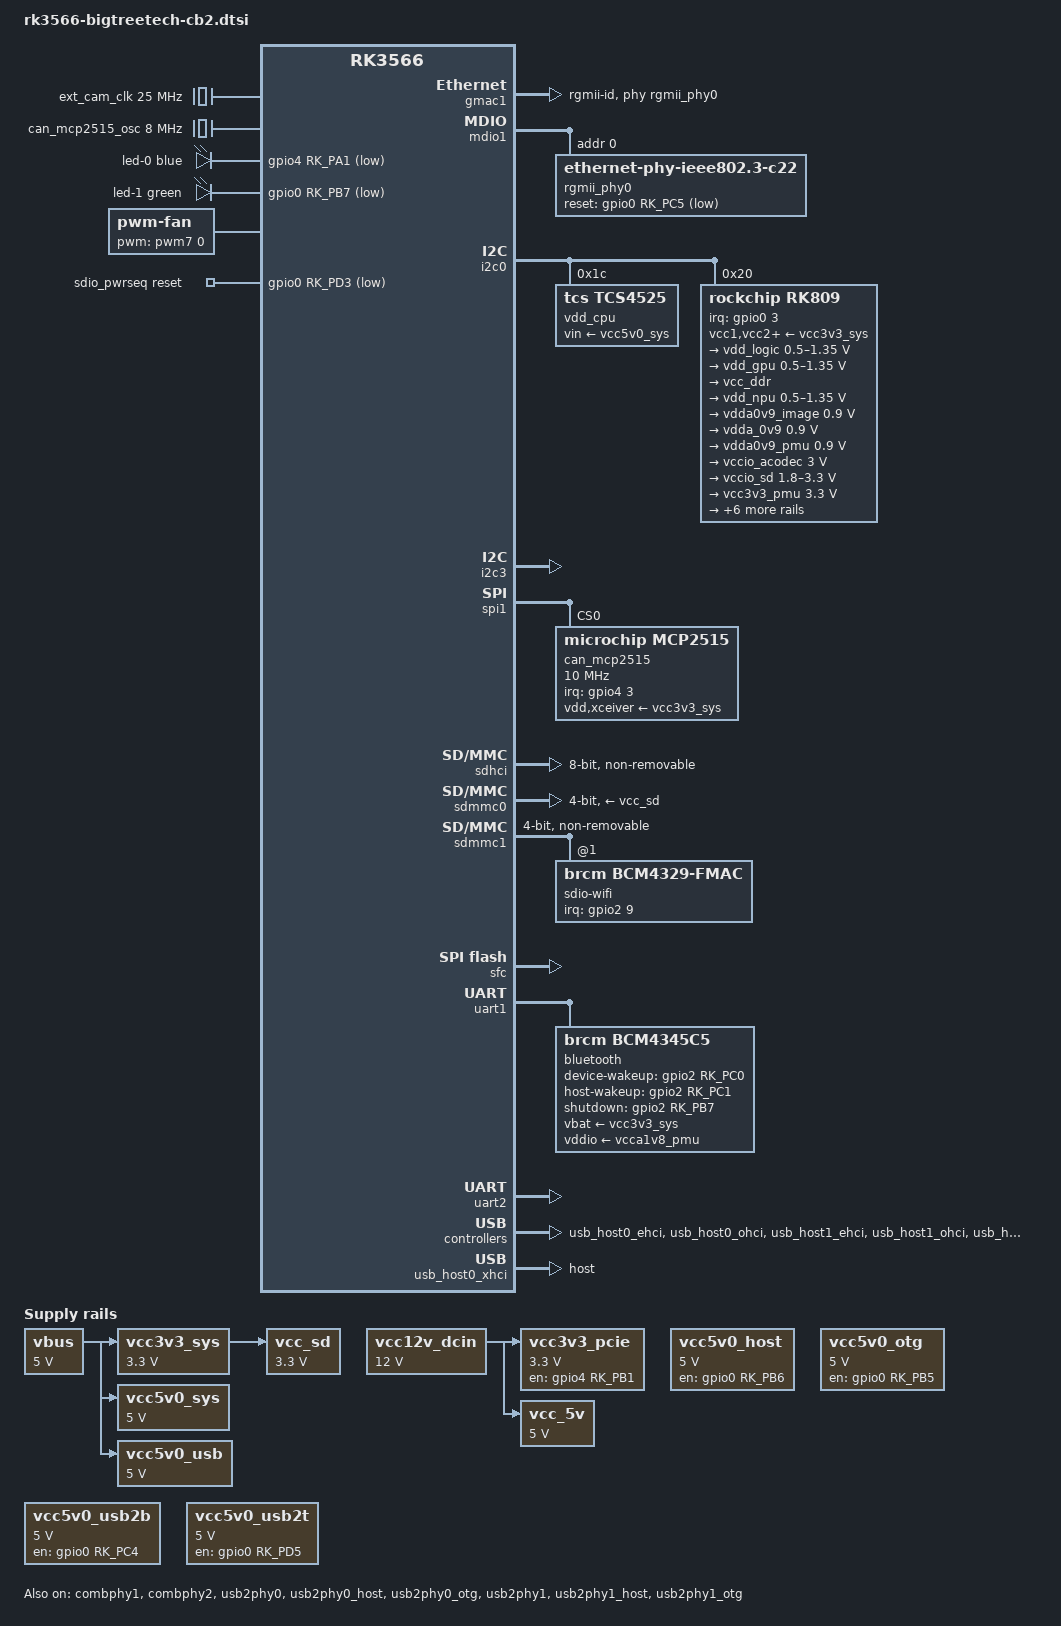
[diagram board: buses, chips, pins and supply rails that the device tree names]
// SPDX-License-Identifier: (GPL-2.0+ OR MIT)

/dts-v1/;

#include <dt-bindings/gpio/gpio.h>
#include <dt-bindings/pwm/pwm.h>
#include <dt-bindings/pinctrl/rockchip.h>
#include <dt-bindings/soc/rockchip,vop2.h>
#include <dt-bindings/leds/common.h>
#include "rk3566.dtsi"

/ {
	aliases {
		ethernet0 = &gmac1;
		mmc0 = &sdhci;
		mmc1 = &sdmmc0;
	};

	chosen: chosen {
		stdout-path = "serial2:1500000n8";
	};

	ext_cam_clk: clock-25000000-cam {
		compatible = "fixed-clock";
		clock-frequency = <25000000>;
		clock-output-names = "ext_cam_clk";
		#clock-cells = <0>;
	};

	can_mcp2515_osc: clock-8000000-mcp2515 {
		compatible = "fixed-clock";
		clock-frequency = <8000000>;
		#clock-cells = <0>;
	};

	leds: leds {
		compatible = "gpio-leds";

		led-0 {
			color = <LED_COLOR_ID_BLUE>;
			function = LED_FUNCTION_POWER;
			gpios = <&gpio4 RK_PA1 GPIO_ACTIVE_LOW>;
			linux,default-trigger = "default-on";
			pinctrl-names = "default";
			pinctrl-0 =<&blue_led>;
		};

		led-1 {
			color = <LED_COLOR_ID_GREEN>;
			function = LED_FUNCTION_HEARTBEAT;
			gpios = <&gpio0 RK_PB7 GPIO_ACTIVE_LOW>;
			linux,default-trigger = "heartbeat";
			pinctrl-names = "default";
			pinctrl-0 =<&heartbeat_led>;
		};
	};

	fan: pwm-fan {
		compatible = "pwm-fan";
		#cooling-cells = <2>;
		cooling-levels = <0 50 100 150 200 255>;
		pwms = <&pwm7 0 50000 0>;
	};

	rk809-sound {
		compatible = "simple-audio-card";
		simple-audio-card,format = "i2s";
		simple-audio-card,name = "Analog RK809";
		simple-audio-card,mclk-fs = <256>;

		simple-audio-card,cpu {
			sound-dai = <&i2s1_8ch>;
		};

		simple-audio-card,codec {
			sound-dai = <&rk809>;
		};
	};

	sdio_pwrseq: sdio-pwrseq {
		compatible = "mmc-pwrseq-simple";
		clocks = <&rk809 1>;
		clock-names = "ext_clock";
		pinctrl-names = "default";
		pinctrl-0 = <&wifi_enable_h>;
		post-power-on-delay-ms = <200>;
		reset-gpios = <&gpio0 RK_PD3 GPIO_ACTIVE_LOW>;
	};

	vbus: regulator-vbus {
		compatible = "regulator-fixed";
		regulator-name = "vbus";
		regulator-always-on;
		regulator-boot-on;
		regulator-min-microvolt = <5000000>;
		regulator-max-microvolt = <5000000>;
	};

	vcc12v_dcin: regulator-vcc12v-dcin {
		compatible = "regulator-fixed";
		regulator-name = "vcc12v_dcin";
		regulator-always-on;
		regulator-boot-on;
		regulator-min-microvolt = <12000000>;
		regulator-max-microvolt = <12000000>;
	};

	vcc3v3_pcie: regulator-vcc3v3-pcie {
		compatible = "regulator-fixed";
		regulator-name = "vcc3v3_pcie";
		enable-active-high;
		gpios = <&gpio4 RK_PB1 GPIO_ACTIVE_HIGH>;
		pinctrl-names = "default";
		pinctrl-0 = <&pcie_drv>;
		regulator-always-on;
		regulator-boot-on;
		regulator-min-microvolt = <3300000>;
		regulator-max-microvolt = <3300000>;
		vin-supply = <&vcc12v_dcin>;
	};

	vcc3v3_sys: regulator-vcc3v3-sys {
		compatible = "regulator-fixed";
		regulator-name = "vcc3v3_sys";
		regulator-always-on;
		regulator-boot-on;
		regulator-min-microvolt = <3300000>;
		regulator-max-microvolt = <3300000>;
		vin-supply = <&vbus>;
	};

	vcc5v0_host: regulator-vcc5v0-host {
		compatible = "regulator-fixed";
		enable-active-high;
		gpios = <&gpio0 RK_PB6 GPIO_ACTIVE_HIGH>;
		pinctrl-names = "default";
		pinctrl-0 = <&vcc5v0_host_en>;
		regulator-name = "vcc5v0_host3";
		regulator-always-on;
		regulator-min-microvolt = <5000000>;
		regulator-max-microvolt = <5000000>;
	};

	vcc5v0_otg: regulator-vcc5v0-otg {
		compatible = "regulator-fixed";
		enable-active-high;
		gpios = <&gpio0 RK_PB5 GPIO_ACTIVE_HIGH>;
		pinctrl-names = "default";
		pinctrl-0 = <&vcc5v0_otg_en>;
		regulator-name = "vcc5v0_otg3";
		regulator-always-on;
		regulator-min-microvolt = <5000000>;
		regulator-max-microvolt = <5000000>;
	};

	vcc5v0_sys: regulator-vcc5v0-sys {
		compatible = "regulator-fixed";
		regulator-name = "vcc5v0_sys";
		regulator-always-on;
		regulator-boot-on;
		regulator-min-microvolt = <5000000>;
		regulator-max-microvolt = <5000000>;
		vin-supply = <&vbus>;
	};

	vcc5v0_usb: regulator-vcc5v0-usb {
		compatible = "regulator-fixed";
		regulator-name = "vcc5v0_usb";
		regulator-always-on;
		regulator-boot-on;
		regulator-min-microvolt = <5000000>;
		regulator-max-microvolt = <5000000>;
		vin-supply = <&vbus>;
	};

	vcc5v0_usb2b: regulator-vcc5v0-usb2b {
		compatible = "regulator-fixed";
		enable-active-high;
		gpio = <&gpio0 RK_PC4 GPIO_ACTIVE_HIGH>;
		pinctrl-names = "default";
		pinctrl-0 = <&vcc5v0_usb2b_en>;
		regulator-name = "vcc5v0_usb2b";
		regulator-always-on;
		regulator-min-microvolt = <5000000>;
		regulator-max-microvolt = <5000000>;
	};

	vcc5v0_usb2t: regulator-vcc5v0-usb2t {
		compatible = "regulator-fixed";
		enable-active-high;
		gpios = <&gpio0 RK_PD5 GPIO_ACTIVE_HIGH>;
		pinctrl-names = "default";
		pinctrl-0 = <&vcc5v0_usb2t_en>;
		regulator-name = "vcc5v0_usb2t";
		regulator-always-on;
		regulator-min-microvolt = <5000000>;
		regulator-max-microvolt = <5000000>;
	};

	vcc_5v: regulator-vcc-5v {
		compatible = "regulator-fixed";
		regulator-name = "vcc_5v";
		regulator-always-on;
		regulator-boot-on;
		regulator-min-microvolt = <5000000>;
		regulator-max-microvolt = <5000000>;
		vin-supply = <&vcc12v_dcin>;
	};

	vcc_sd: regulator-vcc-sd {
		compatible = "regulator-fixed";
		regulator-max-microvolt = <3300000>;
		regulator-min-microvolt = <3300000>;
		regulator-name = "vcc_sd";
		vin-supply = <&vcc3v3_sys>;
	};

	ddr3_params: ddr3-params {
		version = <0x100>;
		expanded_version = <0x00>;
		reserved = <0x00>;
		freq_0 = <0x420>;
		freq_1 = <0x144>;
		freq_2 = <0x210>;
		freq_3 = <0x30c>;
		freq_4 = <0x00>;
		freq_5 = <0x00>;
		pd_idle = <0x0d>;
		sr_idle = <0x5d>;
		sr_mc_gate_idle = <0x00>;
		srpd_lite_idle = <0x00>;
		standby_idle = <0x00>;
		pd_dis_freq = <0x42a>;
		sr_dis_freq = <0x320>;
		dram_dll_dis_freq = <0x12c>;
		phy_dll_dis_freq = <0x00>;
		phy_dq_drv_odten = <0x21>;
		phy_ca_drv_odten = <0x21>;
		phy_clk_drv_odten = <0x21>;
		dram_dq_drv_odten = <0x22>;
		phy_dq_drv_odtoff = <0x21>;
		phy_ca_drv_odtoff = <0x21>;
		phy_clk_drv_odtoff = <0x21>;
		dram_dq_drv_odtoff = <0x22>;
		dram_odt = <0x78>;
		phy_odt = <0xa7>;
		phy_odt_puup_en = <0x01>;
		phy_odt_pudn_en = <0x01>;
		dram_dq_odt_en_freq = <0x14d>;
		phy_odt_en_freq = <0x14d>;
		phy_dq_sr_odten = <0x0f>;
		phy_ca_sr_odten = <0x03>;
		phy_clk_sr_odten = <0x00>;
		phy_dq_sr_odtoff = <0x0f>;
		phy_ca_sr_odtoff = <0x03>;
		phy_clk_sr_odtoff = <0x00>;
		ssmod_downspread = <0x00>;
		ssmod_div = <0x00>;
		ssmod_spread = <0x00>;
		mode_2t = <0x00>;
		speed_bin = <0x15>;
		dram_ext_temp = <0x00>;
		byte_map = <0xe4>;
		dq_map_cs0_dq_l = <0x00>;
		dq_map_cs0_dq_h = <0x00>;
		dq_map_cs1_dq_l = <0x00>;
		dq_map_cs1_dq_h = <0x00>;
	};

	ddr4_params: ddr4-params {
		version = <0x100>;
		expanded_version = <0x00>;
		reserved = <0x00>;
		freq_0 = <0x420>;
		freq_1 = <0x144>;
		freq_2 = <0x210>;
		freq_3 = <0x30c>;
		freq_4 = <0x00>;
		freq_5 = <0x00>;
		pd_idle = <0x0d>;
		sr_idle = <0x5d>;
		sr_mc_gate_idle = <0x00>;
		srpd_lite_idle = <0x00>;
		standby_idle = <0x00>;
		pd_dis_freq = <0x42a>;
		sr_dis_freq = <0x320>;
		dram_dll_dis_freq = <0x271>;
		phy_dll_dis_freq = <0x00>;
		phy_dq_drv_odten = <0x25>;
		phy_ca_drv_odten = <0x25>;
		phy_clk_drv_odten = <0x25>;
		dram_dq_drv_odten = <0x22>;
		phy_dq_drv_odtoff = <0x25>;
		phy_ca_drv_odtoff = <0x25>;
		phy_clk_drv_odtoff = <0x25>;
		dram_dq_drv_odtoff = <0x22>;
		dram_odt = <0x78>;
		phy_odt = <0x8b>;
		phy_odt_puup_en = <0x01>;
		phy_odt_pudn_en = <0x01>;
		dram_dq_odt_en_freq = <0x1f4>;
		phy_odt_en_freq = <0x1f4>;
		phy_dq_sr_odten = <0x0e>;
		phy_ca_sr_odten = <0x01>;
		phy_clk_sr_odten = <0x01>;
		phy_dq_sr_odtoff = <0x0e>;
		phy_ca_sr_odtoff = <0x01>;
		phy_clk_sr_odtoff = <0x01>;
		ssmod_downspread = <0x00>;
		ssmod_div = <0x00>;
		ssmod_spread = <0x00>;
		mode_2t = <0x00>;
		speed_bin = <0x0c>;
		dram_ext_temp = <0x00>;
		byte_map = <0xe4>;
		dq_map_cs0_dq_l = <0x22777788>;
		dq_map_cs0_dq_h = <0xd7888877>;
		dq_map_cs1_dq_l = <0x22777788>;
		dq_map_cs1_dq_h = <0xd7888877>;
	};

	lpddr3_params: lpddr3-params {
		version = <0x100>;
		expanded_version = <0x00>;
		reserved = <0x00>;
		freq_0 = <0x420>;
		freq_1 = <0x144>;
		freq_2 = <0x210>;
		freq_3 = <0x30c>;
		freq_4 = <0x00>;
		freq_5 = <0x00>;
		pd_idle = <0x0d>;
		sr_idle = <0x5d>;
		sr_mc_gate_idle = <0x00>;
		srpd_lite_idle = <0x00>;
		standby_idle = <0x00>;
		pd_dis_freq = <0x42a>;
		sr_dis_freq = <0x320>;
		dram_dll_dis_freq = <0x00>;
		phy_dll_dis_freq = <0x00>;
		phy_dq_drv_odten = <0x25>;
		phy_ca_drv_odten = <0x25>;
		phy_clk_drv_odten = <0x27>;
		dram_dq_drv_odten = <0x22>;
		phy_dq_drv_odtoff = <0x25>;
		phy_ca_drv_odtoff = <0x25>;
		phy_clk_drv_odtoff = <0x27>;
		dram_dq_drv_odtoff = <0x22>;
		dram_odt = <0x78>;
		phy_odt = <0x94>;
		phy_odt_puup_en = <0x01>;
		phy_odt_pudn_en = <0x01>;
		dram_dq_odt_en_freq = <0x14d>;
		phy_odt_en_freq = <0x14d>;
		phy_dq_sr_odten = <0x0f>;
		phy_ca_sr_odten = <0x01>;
		phy_clk_sr_odten = <0x0f>;
		phy_dq_sr_odtoff = <0x0f>;
		phy_ca_sr_odtoff = <0x01>;
		phy_clk_sr_odtoff = <0x0f>;
		ssmod_downspread = <0x00>;
		ssmod_div = <0x00>;
		ssmod_spread = <0x00>;
		mode_2t = <0x00>;
		speed_bin = <0x00>;
		dram_ext_temp = <0x00>;
		byte_map = <0x8d>;
		dq_map_cs0_dq_l = <0x00>;
		dq_map_cs0_dq_h = <0x00>;
		dq_map_cs1_dq_l = <0x00>;
		dq_map_cs1_dq_h = <0x00>;
	};

	lpddr4_params: lpddr4-params {
		version = <0x100>;
		expanded_version = <0x00>;
		reserved = <0x00>;
		freq_0 = <0x420>;
		freq_1 = <0x144>;
		freq_2 = <0x210>;
		freq_3 = <0x30c>;
		freq_4 = <0x00>;
		freq_5 = <0x00>;
		pd_idle = <0x0d>;
		sr_idle = <0x5d>;
		sr_mc_gate_idle = <0x00>;
		srpd_lite_idle = <0x00>;
		standby_idle = <0x00>;
		pd_dis_freq = <0x42a>;
		sr_dis_freq = <0x320>;
		dram_dll_dis_freq = <0x00>;
		phy_dll_dis_freq = <0x00>;
		phy_dq_drv_odten = <0x1e>;
		phy_ca_drv_odten = <0x26>;
		phy_clk_drv_odten = <0x26>;
		dram_dq_drv_odten = <0x28>;
		phy_dq_drv_odtoff = <0x1e>;
		phy_ca_drv_odtoff = <0x26>;
		phy_clk_drv_odtoff = <0x26>;
		dram_dq_drv_odtoff = <0x28>;
		dram_odt = <0x50>;
		phy_odt = <0x3c>;
		phy_odt_puup_en = <0x00>;
		phy_odt_pudn_en = <0x00>;
		dram_dq_odt_en_freq = <0x320>;
		phy_odt_en_freq = <0x320>;
		phy_dq_sr_odten = <0x00>;
		phy_ca_sr_odten = <0x0f>;
		phy_clk_sr_odten = <0x0f>;
		phy_dq_sr_odtoff = <0x00>;
		phy_ca_sr_odtoff = <0x0f>;
		phy_clk_sr_odtoff = <0x0f>;
		ssmod_downspread = <0x00>;
		ssmod_div = <0x00>;
		ssmod_spread = <0x00>;
		mode_2t = <0x00>;
		speed_bin = <0x00>;
		dram_ext_temp = <0x00>;
		byte_map = <0xe4>;
		dq_map_cs0_dq_l = <0x00>;
		dq_map_cs0_dq_h = <0x00>;
		dq_map_cs1_dq_l = <0x00>;
		dq_map_cs1_dq_h = <0x00>;
		lp4_ca_odt = <0x78>;
		lp4_drv_pu_cal_odten = <0x01>;
		lp4_drv_pu_cal_odtoff = <0x01>;
		phy_lp4_drv_pulldown_en_odten = <0x00>;
		phy_lp4_drv_pulldown_en_odtoff = <0x00>;
		lp4_ca_odt_en_freq = <0x320>;
		phy_lp4_cs_drv_odten = <0x00>;
		phy_lp4_cs_drv_odtoff = <0x00>;
		lp4_odte_ck_en = <0x01>;
		lp4_odte_cs_en = <0x01>;
		lp4_odtd_ca_en = <0x00>;
		phy_lp4_dq_vref_odten = <0xa6>;
		lp4_dq_vref_odten = <0x12c>;
		lp4_ca_vref_odten = <0x17c>;
		phy_lp4_dq_vref_odtoff = <0x1a4>;
		lp4_dq_vref_odtoff = <0x1a4>;
		lp4_ca_vref_odtoff = <0x1a4>;
	};

	lpddr4x_params: lpddr4x-params {
		version = <0x100>;
		expanded_version = <0x00>;
		reserved = <0x00>;
		freq_0 = <0x420>;
		freq_1 = <0x144>;
		freq_2 = <0x210>;
		freq_3 = <0x30c>;
		freq_4 = <0x00>;
		freq_5 = <0x00>;
		pd_idle = <0x0d>;
		sr_idle = <0x5d>;
		sr_mc_gate_idle = <0x00>;
		srpd_lite_idle = <0x00>;
		standby_idle = <0x00>;
		pd_dis_freq = <0x42a>;
		sr_dis_freq = <0x320>;
		dram_dll_dis_freq = <0x00>;
		phy_dll_dis_freq = <0x00>;
		phy_dq_drv_odten = <0x1d>;
		phy_ca_drv_odten = <0x24>;
		phy_clk_drv_odten = <0x24>;
		dram_dq_drv_odten = <0x28>;
		phy_dq_drv_odtoff = <0x1d>;
		phy_ca_drv_odtoff = <0x24>;
		phy_clk_drv_odtoff = <0x24>;
		dram_dq_drv_odtoff = <0x28>;
		dram_odt = <0x50>;
		phy_odt = <0x3c>;
		phy_odt_puup_en = <0x00>;
		phy_odt_pudn_en = <0x00>;
		dram_dq_odt_en_freq = <0x320>;
		phy_odt_en_freq = <0x320>;
		phy_dq_sr_odten = <0x00>;
		phy_ca_sr_odten = <0x00>;
		phy_clk_sr_odten = <0x00>;
		phy_dq_sr_odtoff = <0x00>;
		phy_ca_sr_odtoff = <0x00>;
		phy_clk_sr_odtoff = <0x00>;
		ssmod_downspread = <0x00>;
		ssmod_div = <0x00>;
		ssmod_spread = <0x00>;
		mode_2t = <0x00>;
		speed_bin = <0x00>;
		dram_ext_temp = <0x00>;
		byte_map = <0xe4>;
		dq_map_cs0_dq_l = <0x00>;
		dq_map_cs0_dq_h = <0x00>;
		dq_map_cs1_dq_l = <0x00>;
		dq_map_cs1_dq_h = <0x00>;
		lp4_ca_odt = <0x78>;
		lp4_drv_pu_cal_odten = <0x00>;
		lp4_drv_pu_cal_odtoff = <0x00>;
		phy_lp4_drv_pulldown_en_odten = <0x00>;
		phy_lp4_drv_pulldown_en_odtoff = <0x00>;
		lp4_ca_odt_en_freq = <0x320>;
		phy_lp4_cs_drv_odten = <0x00>;
		phy_lp4_cs_drv_odtoff = <0x00>;
		lp4_odte_ck_en = <0x00>;
		lp4_odte_cs_en = <0x00>;
		lp4_odtd_ca_en = <0x00>;
		phy_lp4_dq_vref_odten = <0xa6>;
		lp4_dq_vref_odten = <0xe4>;
		lp4_ca_vref_odten = <0x157>;
		phy_lp4_dq_vref_odtoff = <0x1a4>;
		lp4_dq_vref_odtoff = <0x1a4>;
		lp4_ca_vref_odtoff = <0x157>;
	};

	dmc: dmc {
		compatible = "rockchip,rk3568-dmc";
		interrupts = <GIC_SPI 0x0a IRQ_TYPE_LEVEL_HIGH>;
		interrupt-names = "complete";
		devfreq-events = <&dfi 0xa2>;
		clocks = <&scmi_clk 0x03>;
		clock-names = "dmc_clk";
		operating-points-v2 = <&dmc_opp_table>;
		vop-bw-dmc-freq = <0x00 0x11e 0x4f1a0 0x11f 0x1869f 0x80e80>;
		vop-frame-bw-dmc-freq = <0x00 0x26c 0x4f1a0 0x26d 0x1869f 0xbe6e0>;
		cpu-bw-dmc-freq = <0x00 0x15e 0x4f1a0 0x15f 0x190 0x80e80 0x191 0x1869f 0xbe6e0>;
		upthreshold = <0x28>;
		downdifferential = <0x14>;
		system-status-level = <0x01 0x04 0x08 0x08 0x02 0x01 0x10 0x04 0x10000 0x04 0x1000 0x08 0x4000 0x08 0x2000 0x08 0xc00 0x08>;
		auto-min-freq = <0x4f1a0>;
		auto-freq-en = <1>;
		#cooling-cells = <2>;
		status = "disabled";
		center-supply = <&vdd_logic>;
	};

	dmc_fsp: dmc-fsp {
		compatible = "rockchip,rk3568-dmc-fsp";
		debug_print_level = <0>;
		ddr3_params = <&ddr3_params>;
		ddr4_params = <&ddr4_params>;
		lpddr3_params = <&lpddr3_params>;
		lpddr4_params = <&lpddr4_params>;
		lpddr4x_params = <&lpddr4x_params>;
		status = "disabled";
	};

	dmc_opp_table: dmc-opp-table {
		compatible = "operating-points-v2";
		mbist-vmin = <0xc96a8 0xdbba0 0xe7ef0>;
		nvmem-cells = <0x70 0x07 0x08 0xa9 0x0a 0x0b>;
		nvmem-cell-names = "leakage", "pvtm", "mbist-vmin", "opp-info", "specification_serial_number", "remark_spec_serial_number";
		rockchip,supported-hw;
		rockchip,max-volt = <0xf4240>;
		rockchip,temp-hysteresis = <0x1388>;
		rockchip,low-temp = <0x00>;
		rockchip,low-temp-adjust-volt = <0x00 0x618 0x124f8>;
		rockchip,leakage-voltage-sel = <0x01 0x50 0x00 0x51 0xfe 0x01>;
		rockchip,pvtm-voltage-sel = <0x00 0x14820 0x00 0x14821 0x186a0 0x01>;
		rockchip,pvtm-ch = <0x00 0x05>;

		opp-1560000000 {
			opp-supported-hw = <0xf9 0xffff>;
			opp-hz = <0x00 0x5cfbb600>;
			opp-microvolt = <0xdbba0 0xdbba0 0xf4240>;
			opp-microvolt-L0 = <0xdbba0 0xdbba0 0xf4240>;
			opp-microvolt-L1 = <0xd59f8 0xd59f8 0xf4240>;
		};
	};
};

&combphy1 {
	status = "okay";
};

&combphy2 {
	status = "okay";
};

&cpu0 {
	cpu-supply = <&vdd_cpu>;
};

&cpu1 {
	cpu-supply = <&vdd_cpu>;
};

&cpu2 {
	cpu-supply = <&vdd_cpu>;
};

&cpu3 {
	cpu-supply = <&vdd_cpu>;
};

&gmac1 {
	assigned-clocks = <&cru SCLK_GMAC1_RX_TX>, <&cru SCLK_GMAC1>;
	assigned-clock-parents = <&cru SCLK_GMAC1_RGMII_SPEED>, <&cru CLK_MAC1_2TOP>;
	assigned-clock-rates = <0>, <125000000>;
	clock_in_out = "input";
	phy-handle = <&rgmii_phy0>;
	phy-mode = "rgmii-id";
	pinctrl-names = "default";
	pinctrl-0 = <&gmac1m0_miim
			&gmac1m0_tx_bus2
			&gmac1m0_rx_bus2
			&gmac1m0_rgmii_clk
			&gmac1m0_clkinout
			&gmac1m0_rgmii_bus>;
	tx_delay = <0x30>;
	rx_delay = <0x10>;
	status = "okay";
};

&mdio1 {
	rgmii_phy0: phy@0 {
		compatible = "ethernet-phy-ieee802.3-c22";
		reset-delay-us = <20000>;
		reset-gpios = <&gpio0 RK_PC5 GPIO_ACTIVE_LOW>;
		reset-post-delay-us = <100000>;
		reg = <0x0>;
	};
};

&gpu {
	mali-supply = <&vdd_gpu>;
	status = "disabled";
	upthreshold = <0x28>;
	downdifferential = <0x0a>;

	gpu_power_model: power-model {
		compatible = "simple-power-model";
		leakage-range = <0x05 0x0f>;
		ls = <0xffffa23e 0x5927 0x00>;
		static-coefficient = <0x186a0>;
		dynamic-coefficient = <0x3b9>;
		ts = <0xfffe56a6 0xf87a 0xfffffab5 0x14>;
		thermal-zone = "gpu-thermal";
	};
};

&display_subsystem {
	devfreq = <&dmc>;
	status = "disabled";

	route {
		route_dsi0: route-dsi0 {
			status = "disabled";
			logo,uboot = "logo.bmp";
			logo,kernel = "logo_kernel.bmp";
			logo,mode = "center";
			charge_logo,mode = "center";
			connect = <0x11>;
		};

		route_dsi1: route-dsi1 {
			status = "disabled";
			logo,uboot = "logo.bmp";
			logo,kernel = "logo_kernel.bmp";
			logo,mode = "center";
			charge_logo,mode = "center";
			connect = <0x12>;
		};

		route_edp: route-edp {
			status = "disabled";
			logo,uboot = "logo.bmp";
			logo,kernel = "logo_kernel.bmp";
			logo,mode = "center";
			charge_logo,mode = "center";
			connect = <0x13>;
		};

		route_hdmi: route-hdmi {
			status = "disabled";
			logo,uboot = "logo.bmp";
			logo,kernel = "logo_kernel.bmp";
			logo,mode = "center";
			charge_logo,mode = "center";
			connect = <0x14>;
		};

		route_lvds: route-lvds {
			status = "disabled";
			logo,uboot = "logo.bmp";
			logo,kernel = "logo_kernel.bmp";
			logo,mode = "center";
			charge_logo,mode = "center";
			connect = <0x15>;
		};

		route_rgb: route-rgb {
			status = "disabled";
			logo,uboot = "logo.bmp";
			logo,kernel = "logo_kernel.bmp";
			logo,mode = "center";
			charge_logo,mode = "center";
			connect = <0x16>;
		};
	};
};

&vp0 {
	#address-cells = <1>;
	#size-cells = <0>;

	vp0_out_dsi0: endpoint@0 {
		reg = <0>;
		remote-endpoint = <&dsi0_in_vp0>;
	};

	vp0_out_dsi1: endpoint@1 {
		reg = <1>;
		remote-endpoint = <&dsi1_in_vp0>;
	};

	vp0_out_edp: endpoint@2 {
		reg = <2>;
		remote-endpoint = <&edp_in_vp0>;
	};

	/*vp0_out_hdmi: endpoint@3 {
		reg = <3>;
		remote-endpoint = <&hdmi_in_vp0>;
	};*/
};

&vp1 {
	#address-cells = <1>;
	#size-cells = <0>;

	vp1_out_dsi0: endpoint@0 {
		reg = <0>;
		remote-endpoint = <&dsi0_in_vp1>;
	};

	vp1_out_dsi1: endpoint@1 {
		reg = <1>;
		remote-endpoint = <&dsi1_in_vp1>;
	};

	vp1_out_edp: endpoint@2 {
		reg = <2>;
		remote-endpoint = <&edp_in_vp1>;
	};

	/*vp1_out_hdmi: endpoint@3 {
		reg = <3>;
		remote-endpoint = <&hdmi_in_vp1>;
	};*/

	vp1_out_lvds: endpoint@4 {
		reg = <4>;
		remote-endpoint = <&lvds_in_vp1>;
	};
};

&vp2 {
	#address-cells = <1>;
	#size-cells = <0>;

	vp2_out_lvds: endpoint@0 {
		reg = <0>;
		remote-endpoint = <&lvds_in_vp2>;
	};

	vp2_out_rgb: endpoint@1 {
		reg = <1>;
		remote-endpoint = <&rgb_in_vp2>;
	};
};


&dsi0_in {
	dsi0_in_vp0: endpoint@0 {
		reg = <0>;
		remote-endpoint = <&vp0_out_dsi0>;
		status = "disabled";
	};

	dsi0_in_vp1: endpoint@1 {
		reg = <1>;
		remote-endpoint = <&vp1_out_dsi0>;
		status = "disabled";
	};
};

&dsi1_in {
	reg = <0>;

	dsi1_in_vp0: endpoint@0 {
		reg = <0>;
		remote-endpoint = <&vp0_out_dsi1>;
		status = "disabled";
	};

	dsi1_in_vp1: endpoint@1 {
		reg = <1>;
		remote-endpoint = <&vp1_out_dsi1>;
		status = "disabled";
	};
};

&dsi1_out {
	dsi1_out_panel: endpoint {
		remote-endpoint = <&panel_in_dsi1>;
	};
};

&dsi1 {
	dsi1_panel: panel@0 {
		status = "disabled";
		#address-cells = <1>;
		#size-cells = <0>;
		power-supply = <&vcc3v3_sys>;
		compatible = "btt-pitft";
		reg = <0>;

		ports {
			#address-cells = <1>;
			#size-cells = <0>;

			port@0 {
				reg = <0>;

				panel_in_dsi1: endpoint {
					remote-endpoint = <&dsi1_out_panel>;
				};
			};
		};
	};
};

&edp_in{
	#address-cells = <1>;
	#size-cells = <0>;

	edp_in_vp0: endpoint@0 {
		reg = <0>;
		remote-endpoint = <&vp0_out_edp>;
		status = "disabled";
	};

	edp_in_vp1: endpoint@1 {
		reg = <1>;
		remote-endpoint = <&vp1_out_edp>;
		status = "disabled";
	};
};

&grf {
	io_domains: io-domains {
		compatible = "rockchip,rk3568-io-voltage-domain";
		status = "disabled";
	};

	lvds: lvds {
		compatible = "rockchip,rk3568-lvds";
		phys = <&dsi_dphy0>;
		phy-names = "phy";
		status = "disabled";

		ports {
			#address-cells = <1>;
			#size-cells = <0>;

			port@0 {
				reg = <0>;
				#address-cells = <1>;
				#size-cells = <0>;

				lvds_in_vp1: endpoint@1 {
					reg = <1>;
					remote-endpoint = <&vp1_out_lvds>;
					status = "disabled";
				};

				lvds_in_vp2: endpoint@2 {
					reg = <2>;
					remote-endpoint = <&vp2_out_lvds>;
					status = "disabled";
				};
			};
		};
	};

	rgb: rgb {
		compatible = "rockchip,rk3568-rgb";
		pinctrl-names = "default";
		pinctrl-0 = <&lcdc_ctl>;
		status = "disabled";

		ports {
			#address-cells = <1>;
			#size-cells = <0>;

			port@0 {
				reg = <0>;
				#address-cells = <1>;
				#size-cells = <0>;

				rgb_in_vp2: endpoint@2 {
					reg = <2>;
					remote-endpoint = <&vp2_out_rgb>;
					status = "disabled";
				};
			};
		};
	};
};

&i2c0 {
	status = "okay";

	vdd_cpu: regulator@1c {
		compatible = "tcs,tcs4525";
		reg = <0x1c>;
		regulator-name = "vdd_cpu";
		regulator-min-microvolt = <712500>;
		regulator-max-microvolt = <1390000>;
		regulator-initial-mode = <1>;
		regulator-ramp-delay = <2300>;
		regulator-boot-on;
		regulator-always-on;
		vin-supply = <&vcc5v0_sys>;
		fcs,suspend-voltage-selector = <1>;

		regulator-state-mem {
			regulator-off-in-suspend;
		};
	};

	rk809: pmic@20 {
		compatible = "rockchip,rk809";
		reg = <0x20>;
		interrupt-parent = <&gpio0>;
		interrupts = <3 IRQ_TYPE_LEVEL_LOW>;
		assigned-clocks = <&cru I2S1_MCLKOUT_TX>;
		assigned-clock-parents = <&cru CLK_I2S1_8CH_TX>;
		#clock-cells = <1>;
		clock-names = "mclk";
		clocks = <&cru I2S1_MCLKOUT_TX>;
		clock-output-names = "rk808-clkout1", "rk808-clkout2";
		pinctrl-names = "default", "pmic-sleep",
				"pmic-power-off", "pmic-reset";
		pinctrl-0 = <&pmic_int>, <&i2s1m0_mclk>;
		#sound-dai-cells = <0>;
		system-power-controller;
		wakeup-source;

		vcc1-supply = <&vcc3v3_sys>;
		vcc2-supply = <&vcc3v3_sys>;
		vcc3-supply = <&vcc3v3_sys>;
		vcc4-supply = <&vcc3v3_sys>;
		vcc5-supply = <&vcc3v3_sys>;
		vcc6-supply = <&vcc3v3_sys>;
		vcc7-supply = <&vcc3v3_sys>;
		vcc8-supply = <&vcc3v3_sys>;
		vcc9-supply = <&vcc3v3_sys>;

		regulators {
			vdd_logic: DCDC_REG1 {
				regulator-always-on;
				regulator-boot-on;
				regulator-min-microvolt = <500000>;
				regulator-max-microvolt = <1350000>;
				regulator-ramp-delay = <6001>;
				regulator-initial-mode = <0x2>;
				regulator-name = "vdd_logic";

				regulator-state-mem {
					regulator-off-in-suspend;
				};
			};

			vdd_gpu: DCDC_REG2 {
				regulator-always-on;
				regulator-boot-on;
				regulator-min-microvolt = <500000>;
				regulator-max-microvolt = <1350000>;
				regulator-ramp-delay = <6001>;
				regulator-initial-mode = <0x2>;
				regulator-name = "vdd_gpu";

				regulator-state-mem {
					regulator-off-in-suspend;
				};
			};

			vcc_ddr: DCDC_REG3 {
				regulator-always-on;
				regulator-boot-on;
				regulator-initial-mode = <0x2>;
				regulator-name = "vcc_ddr";

				regulator-state-mem {
					regulator-on-in-suspend;
				};
			};

			vdd_npu: DCDC_REG4 {
				regulator-always-on;
				regulator-boot-on;
				regulator-min-microvolt = <500000>;
				regulator-max-microvolt = <1350000>;
				regulator-ramp-delay = <6001>;
				regulator-initial-mode = <0x2>;
				regulator-name = "vdd_npu";

				regulator-state-mem {
					regulator-off-in-suspend;
				};
			};

			vdda0v9_image: LDO_REG1 {
				regulator-boot-on;
				regulator-always-on;
				regulator-min-microvolt = <900000>;
				regulator-max-microvolt = <900000>;
				regulator-name = "vdda0v9_image";

				regulator-state-mem {
					regulator-off-in-suspend;
				};
			};

			vdda_0v9: LDO_REG2 {
				regulator-always-on;
				regulator-boot-on;
				regulator-min-microvolt = <900000>;
				regulator-max-microvolt = <900000>;
				regulator-name = "vdda_0v9";

				regulator-state-mem {
					regulator-off-in-suspend;
				};
			};

			vdda0v9_pmu: LDO_REG3 {
				regulator-always-on;
				regulator-boot-on;
				regulator-min-microvolt = <900000>;
				regulator-max-microvolt = <900000>;
				regulator-name = "vdda0v9_pmu";

				regulator-state-mem {
					regulator-on-in-suspend;
					regulator-suspend-microvolt = <900000>;
				};
			};

			vccio_acodec: LDO_REG4 {
				regulator-always-on;
				regulator-boot-on;
				regulator-min-microvolt = <3000000>;
				regulator-max-microvolt = <3000000>;
				regulator-name = "vccio_acodec";

				regulator-state-mem {
					regulator-off-in-suspend;
				};
			};

			vccio_sd: LDO_REG5 {
				regulator-always-on;
				regulator-boot-on;
				regulator-min-microvolt = <1800000>;
				regulator-max-microvolt = <3300000>;
				regulator-name = "vccio_sd";

				regulator-state-mem {
					regulator-off-in-suspend;
				};
			};

			vcc3v3_pmu: LDO_REG6 {
				regulator-always-on;
				regulator-boot-on;
				regulator-min-microvolt = <3300000>;
				regulator-max-microvolt = <3300000>;
				regulator-name = "vcc3v3_pmu";

				regulator-state-mem {
					regulator-on-in-suspend;
					regulator-suspend-microvolt = <3300000>;
				};
			};

			vcca_1v8: LDO_REG7 {
				regulator-always-on;
				regulator-boot-on;
				regulator-min-microvolt = <1800000>;
				regulator-max-microvolt = <1800000>;
				regulator-name = "vcca_1v8";

				regulator-state-mem {
					regulator-off-in-suspend;
				};
			};

			vcca1v8_pmu: LDO_REG8 {
				regulator-always-on;
				regulator-boot-on;
				regulator-min-microvolt = <1800000>;
				regulator-max-microvolt = <1800000>;
				regulator-name = "vcca1v8_pmu";

				regulator-state-mem {
					regulator-on-in-suspend;
					regulator-suspend-microvolt = <1800000>;
				};
			};

			vcca1v8_image: LDO_REG9 {
				regulator-always-on;
				regulator-boot-on;
				regulator-min-microvolt = <1800000>;
				regulator-max-microvolt = <1800000>;
				regulator-name = "vcca1v8_image";

				regulator-state-mem {
					regulator-off-in-suspend;
				};
			};

			vcc_1v8: DCDC_REG5 {
				regulator-always-on;
				regulator-boot-on;
				regulator-min-microvolt = <1800000>;
				regulator-max-microvolt = <1800000>;
				regulator-name = "vcc_1v8";

				regulator-state-mem {
					regulator-off-in-suspend;
				};
			};

			vcc_3v3: SWITCH_REG1 {
				regulator-always-on;
				regulator-boot-on;
				regulator-name = "vcc_3v3";

				regulator-state-mem {
					regulator-off-in-suspend;
				};
			};

			vcc3v3_sd: SWITCH_REG2 {
				regulator-always-on;
				regulator-boot-on;
				regulator-name = "vcc3v3_sd";

				regulator-state-mem {
					regulator-off-in-suspend;
				};
			};
		};

		codec {
			rockchip,mic-in-differential;
		};
	};
};

&i2c2 {
	pinctrl-0 = <&i2c2m1_xfer>;
};

&i2c3 {
	status = "okay";

	tft_tp: touchscreen@48 {
		compatible = "ti,tsc2007";
		reg = <0x48>;
		status = "disabled";
		ti,x-plate-ohms = <660>;
		ti,rt-thr = <3000>;
		ti,fuzzx = <32>;
		ti,fuzzy = <16>;
	};
};

&i2s0_8ch {
	status = "disabled";
};

&i2s1_8ch {
	pinctrl-names = "default";
	pinctrl-0 = <&i2s1m0_sclktx &i2s1m0_lrcktx &i2s1m0_sdi0 &i2s1m0_sdo0>;
	rockchip,trcm-sync-tx-only;
	status = "disabled";
};

&spi1 {
	pinctrl-names = "default";
	pinctrl-0 = <&spi1m1_cs0 &spi1m1_pins>;

	can_mcp2515: can@0 {
		compatible = "microchip,mcp2515";
		reg = <0x00>;
		clocks = <&can_mcp2515_osc>;
		interrupt-parent = <&gpio4>;
		interrupts = <3 IRQ_TYPE_LEVEL_LOW>;
		pinctrl-names = "default";
		pinctrl-0 = <&mcp2515_int_pin>;
		spi-max-frequency = <10000000>;
		vdd-supply = <&vcc3v3_sys>;
		xceiver-supply = <&vcc3v3_sys>;
	};
};

&spi3 {
	pinctrl-names = "default";
	pinctrl-0 = <&spi3m1_cs0 &spi3m1_pins>;
};

&pcie2x1 {
	pinctrl-names = "default";
	pinctrl-0 = <&pcie_reset_h>;
	reset-gpios = <&gpio1 RK_PB2 GPIO_ACTIVE_HIGH>;
	vpcie3v3-supply = <&vcc3v3_pcie>;
	status = "disabled";
};

&pinctrl {
	bt {
		bt_enable: bt-enable-h {
			rockchip,pins = <2 RK_PB7 RK_FUNC_GPIO &pcfg_pull_down>;
		};

		bt_host_wake: bt-host-wake-l {
			rockchip,pins = <2 RK_PC1 RK_FUNC_GPIO &pcfg_pull_down>;
		};

		bt_wake: bt-wake-l {
			rockchip,pins = <2 RK_PC0 RK_FUNC_GPIO &pcfg_pull_none>;
		};
	};

	pcie {
		pcie_drv: pcie-drv {
			rockchip,pins = <4 RK_PB1 RK_FUNC_GPIO &pcfg_pull_none>;
		};

		pcie_reset_h: pcie-reset-h {
			rockchip,pins = <1 RK_PB2 RK_FUNC_GPIO &pcfg_pull_none>;
		};
	};

	pmic {
		pmic_int: pmic-int {
			rockchip,pins = <0 RK_PA3 RK_FUNC_GPIO &pcfg_pull_up>;
		};
	};

	sdio-pwrseq {
		wifi_enable_h: wifi-enable-h {
			rockchip,pins = <0 RK_PD3 RK_FUNC_GPIO &pcfg_pull_none>;
		};

		wifi_host_wake: wifi-host-wake-l {
			rockchip,pins = <2 RK_PB1 RK_FUNC_GPIO &pcfg_pull_down>;
		};
	};

	usb {
		vcc5v0_host_en: vcc5v0-host-en {
			rockchip,pins = <0 RK_PB6 RK_FUNC_GPIO &pcfg_pull_none>;
		};

		vcc5v0_otg_en: vcc5v0-otg-en {
			rockchip,pins = <0 RK_PB5 RK_FUNC_GPIO &pcfg_pull_none>;
		};

		vcc5v0_usb2t_en: vcc5v0-usb2t-en {
			rockchip,pins = <3 RK_PD5 RK_FUNC_GPIO &pcfg_pull_none>;
		};

		vcc5v0_usb2b_en: vcc5v0-usb2b-en {
			rockchip,pins = <4 RK_PC4 RK_FUNC_GPIO &pcfg_pull_none>;
		};
	};

	work-led {
		heartbeat_led: led-heartbeat {
			rockchip,pins = <0 RK_PB7 RK_FUNC_GPIO &pcfg_pull_none>;
		};

		blue_led: led-blue {
			rockchip,pins = <4 RK_PA1 RK_FUNC_GPIO &pcfg_pull_none>;
		};
	};

	mcp2515 {
		mcp2515_int_pin: mcp2515-int-pin {
			rockchip,pins = <4 RK_PA3 RK_FUNC_GPIO &pcfg_pull_up>;
		};
	};
};

&pmu_io_domains {
	pmuio1-supply = <&vcc3v3_pmu>;
	pmuio2-supply = <&vcc3v3_pmu>;
	vccio1-supply = <&vcc_3v3>;
	vccio2-supply = <&vcc_1v8>;
	vccio3-supply = <&vccio_sd>;
	vccio4-supply = <&vcc_1v8>;
	vccio5-supply = <&vcc_3v3>;
	vccio6-supply = <&vcc_3v3>;
	vccio7-supply = <&vcc_3v3>;
	status = "okay";
};

&pwm0 {
	pinctrl-names = "default";
	pinctrl-0 = <&pwm0m1_pins>;
};

&pwm12 {
	pinctrl-names = "default";
	pinctrl-0 = <&pwm12m1_pins>;
};

&pwm13 {
	pinctrl-names = "default";
	pinctrl-0 = <&pwm13m1_pins>;
};

&pwm14 {
	pinctrl-names = "default";
	pinctrl-0 = <&pwm14m1_pins>;
};

&pwm15 {
	pinctrl-names = "default";
	pinctrl-0 = <&pwm15m1_pins>;
};

&saradc {
	vref-supply = <&vcca_1v8>;
	status = "disabled";
};

&sdhci {
	bus-width = <8>;
	max-frequency = <200000000>;
	non-removable;
	pinctrl-names = "default";
	pinctrl-0 = <&emmc_bus8 &emmc_clk &emmc_cmd>;
	status = "okay";
};

&sdmmc0 {
	max-frequency = <150000000>;
	bus-width = <4>;
	cap-mmc-highspeed;
	cap-sd-highspeed;
	disable-wp;
	pinctrl-names = "default";
	pinctrl-0 = <&sdmmc0_bus4 &sdmmc0_clk &sdmmc0_cmd &sdmmc0_det>;
	vmmc-supply = <&vcc_sd>;
	vqmmc-supply = <&vccio_sd>;
	status = "okay";
};

&sdmmc1 {
	/* WiFi & BT combo module AMPAK AP6256 */
	#address-cells = <1>;
	#size-cells = <0>;
	bus-width = <4>;
	cap-sd-highspeed;
	cap-sdio-irq;
	disable-wp;
	keep-power-in-suspend;
	max-frequency = <150000000>;
	mmc-pwrseq = <&sdio_pwrseq>;
	non-removable;
	pinctrl-names = "default";
	pinctrl-0 = <&sdmmc1_bus4 &sdmmc1_cmd &sdmmc1_clk>;
	rockchip,default-sample-phase = <90>;
	status = "okay";

	sdio-wifi@1 {
		compatible = "brcm,bcm4329-fmac";
		reg = <1>;
		interrupt-parent = <&gpio2>;
		interrupts = <9 IRQ_TYPE_LEVEL_HIGH>;
		interrupt-names = "host-wake";
		pinctrl-names = "default";
		pinctrl-0 = <&wifi_host_wake>;
		brcm,drive-strength = <10>;
	};
};

&sfc {
	#address-cells = <1>;
	#size-cells = <0>;
	status = "okay";
};

&tsadc {
	status = "disabled";
};

&uart1 {
	dma-names = "tx","rx";
	pinctrl-names = "default";
	pinctrl-0 = <&uart1m0_xfer &uart1m0_ctsn &uart1m0_rtsn>;
	uart-has-rtscts;
	status = "okay";

	bluetooth {
		compatible = "brcm,bcm4345c5";
		clocks = <&rk809 1>;
		clock-names = "lpo";
		device-wakeup-gpios = <&gpio2 RK_PC0 GPIO_ACTIVE_HIGH>;
		host-wakeup-gpios = <&gpio2 RK_PC1 GPIO_ACTIVE_HIGH>;
		shutdown-gpios = <&gpio2 RK_PB7 GPIO_ACTIVE_HIGH>;
		pinctrl-names = "default";
		pinctrl-0 = <&bt_host_wake &bt_wake &bt_enable>;
		vbat-supply = <&vcc3v3_sys>;
		vddio-supply = <&vcca1v8_pmu>;
	};
};

&uart2 {
	status = "okay";
};

&uart5 {
	pinctrl-names = "default";
	pinctrl-0 = <&uart5m1_xfer>;
};

&uart7 {
	pinctrl-names = "default";
	pinctrl-0 = <&uart7m2_xfer>;
};

&usb2phy0 {
	status = "okay";
};

&usb2phy0_host {
	phy-supply = <&vcc5v0_host>;
	status = "okay";
};

&usb2phy0_otg {
	phy-supply = <&vcc5v0_otg>;
	status = "okay";
};

&usb2phy1 {
	status = "okay";
};

&usb2phy1_host {
	phy-supply = <&vcc5v0_usb2t>;
	status = "okay";
};

&usb2phy1_otg {
	phy-supply = <&vcc5v0_usb2b>;
	status = "okay";
};

&usb_host0_ehci {
	status = "okay";
};

&usb_host0_ohci {
	status = "okay";
};

&usb_host0_xhci {
	dr_mode = "host";
	extcon = <&usb2phy0>;
	status = "okay";
};

&usb_host1_ehci {
	status = "okay";
};

&usb_host1_ohci {
	status = "okay";
};

&usb_host1_xhci {
	status = "okay";
};

&vop {
	assigned-clocks = <&cru DCLK_VOP0>, <&cru DCLK_VOP1>;
	assigned-clock-parents = <&pmucru PLL_HPLL>, <&cru PLL_VPLL>;
	status = "disabled";
};

&vop_mmu {
	status = "disabled";
};
